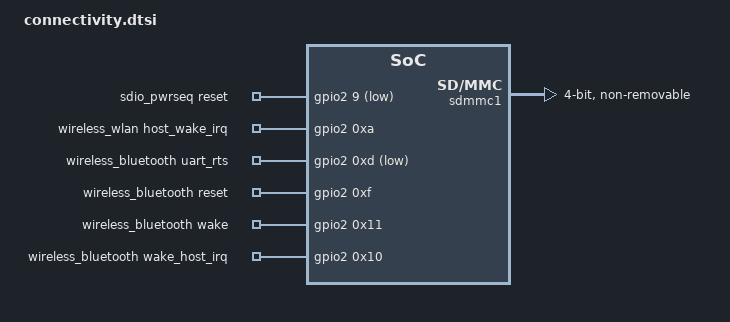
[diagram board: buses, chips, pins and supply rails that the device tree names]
/* SDIO power/reset and wireless wiring from the Android configuration. */
/ {
	sdio_pwrseq: sdio-pwrseq {
		compatible = "mmc-pwrseq-simple";
		clocks = <&rk809 0x1>;
		clock-names = "ext_clock";
		pinctrl-names = "default";
		pinctrl-0 = <&wifi_enable_h>;
		post-power-on-delay-ms = <400>;
		power-off-delay-us = <0x7a120>;
		reset-gpios = <&gpio2 9 1>;
	};

	wireless_wlan: wireless-wlan {
		compatible = "wlan-platdata";
		rockchip,grf = <&grf>;
		wifi_chip_type = "ap6398s";
		status = "okay";
		pinctrl-names = "default";
		pinctrl-0 = <&wifi_host_wake_irq>;
		WIFI,host_wake_irq = <&gpio2 0xa 0x0>;
	};

	wireless_bluetooth: wireless-bluetooth {
		compatible = "bluetooth-platdata";
		clocks = <&pmucru 0x5>;
		clock-names = "ext_clock";
		status = "okay";
		pinctrl-names = "default", "rts_gpio";
		pinctrl-0 = <&uart1m0_rtsn>;
		pinctrl-1 = <&bt_gpios>;
		uart_rts_gpios = <&gpio2 0xd 0x1>;
		BT,reset_gpio = <&gpio2 0xf 0x0>;
		BT,wake_gpio = <&gpio2 0x11 0x0>;
		BT,wake_host_irq = <&gpio2 0x10 0x0>;
	};
};

&sdmmc1 {
	max-frequency = <150000000>;
	status = "okay";
	supports-sdio;
	bus-width = <4>;
	disable-wp;
	cap-sd-highspeed;
	cap-sdio-irq;
	keep-power-in-suspend;
	mmc-pwrseq = <&sdio_pwrseq>;
	non-removable;
	pinctrl-names = "default";
	pinctrl-0 = <&sdmmc1_bus4>, <&sdmmc1_cmd>, <&sdmmc1_clk>;
	sd-uhs-sdr104;
};
